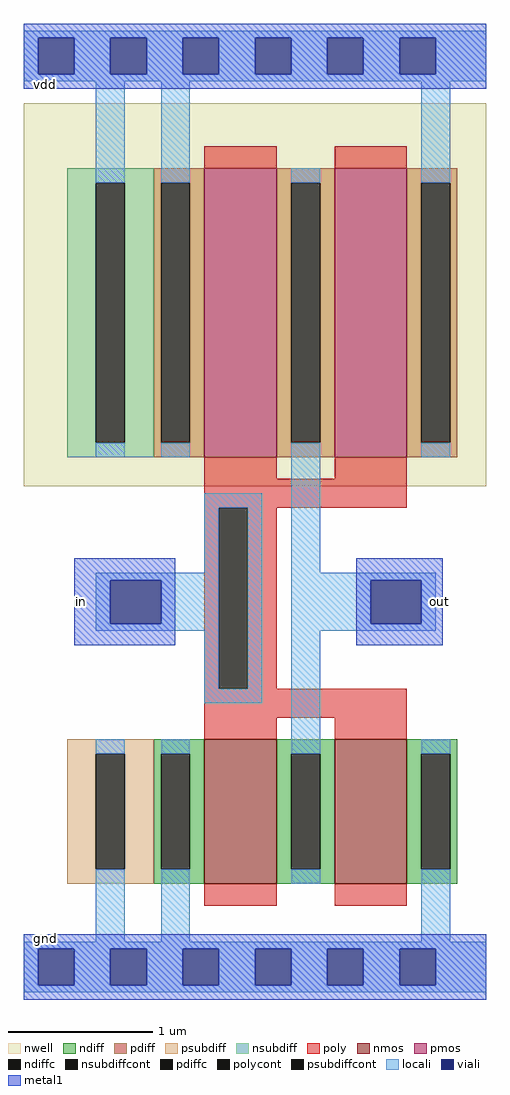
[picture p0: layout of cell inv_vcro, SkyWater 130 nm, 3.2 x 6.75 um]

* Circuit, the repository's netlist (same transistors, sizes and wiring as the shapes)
* NGSPICE file created from inv_vcro.ext - technology: sky130A

.subckt inv_vcro in vdd out gnd
X0 out in gnd gnd sky130_fd_pr__nfet_01v8 ad=0.2 pd=1.4 as=0.35 ps=2.7 w=1 l=0.5
X1 out in vdd vdd sky130_fd_pr__pfet_01v8 ad=0.4 pd=2.4 as=0.7 ps=4.7 w=2 l=0.5
X2 gnd in out gnd sky130_fd_pr__nfet_01v8 ad=0.35 pd=2.7 as=0.2 ps=1.4 w=1 l=0.5
X3 vdd in out vdd sky130_fd_pr__pfet_01v8 ad=0.7 pd=4.7 as=0.4 ps=2.4 w=2 l=0.5
.ends

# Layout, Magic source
magic
tech sky130A
<< nwell >>
rect -100 260 220 525
<< nmos >>
rect 25 -15 75 85
rect 115 -15 165 85
<< pmos >>
rect 25 280 75 480
rect 115 280 165 480
<< ndiff >>
rect -10 75 25 85
rect -10 -5 -5 75
rect 15 -5 25 75
rect -10 -15 25 -5
rect 75 75 115 85
rect 75 -5 85 75
rect 105 -5 115 75
rect 75 -15 115 -5
rect 165 75 200 85
rect 165 -5 175 75
rect 195 -5 200 75
rect 165 -15 200 -5
<< pdiff >>
rect -10 470 25 480
rect -10 290 -5 470
rect 15 290 25 470
rect -10 280 25 290
rect 75 470 115 480
rect 75 290 85 470
rect 105 290 115 470
rect 75 280 115 290
rect 165 470 200 480
rect 165 290 175 470
rect 195 290 200 470
rect 165 280 200 290
<< ndiffc >>
rect -5 -5 15 75
rect 85 -5 105 75
rect 175 -5 195 75
<< pdiffc >>
rect -5 290 15 470
rect 85 290 105 470
rect 175 290 195 470
<< psubdiff >>
rect -70 75 -10 85
rect -70 -5 -50 75
rect -30 -5 -10 75
rect -70 -15 -10 -5
<< nsubdiff >>
rect -70 470 -10 480
rect -70 290 -50 470
rect -30 290 -10 470
rect -70 280 -10 290
<< psubdiffcont >>
rect -50 -5 -30 75
<< nsubdiffcont >>
rect -50 290 -30 470
<< poly >>
rect 25 480 75 495
rect 115 480 165 495
rect 25 265 75 280
rect 115 265 165 280
rect 25 245 165 265
rect 25 120 35 245
rect 55 120 75 245
rect 25 100 165 120
rect 25 85 75 100
rect 115 85 165 100
rect 25 -30 75 -15
rect 115 -30 165 -15
<< polycont >>
rect 35 120 55 245
<< locali >>
rect -100 570 220 575
rect -100 545 -90 570
rect -65 545 -40 570
rect -15 545 10 570
rect 35 545 60 570
rect 85 545 110 570
rect 135 545 160 570
rect 185 545 220 570
rect -100 540 220 545
rect -50 470 -30 540
rect -50 280 -30 290
rect -5 470 15 540
rect -5 280 15 290
rect 85 470 105 480
rect 25 245 65 255
rect 25 200 35 245
rect -50 195 35 200
rect -50 165 -40 195
rect -5 165 35 195
rect -50 160 35 165
rect 25 120 35 160
rect 55 120 65 245
rect 25 110 65 120
rect 85 200 105 290
rect 175 470 195 540
rect 175 280 195 290
rect 85 195 185 200
rect 85 165 140 195
rect 175 165 185 195
rect 85 160 185 165
rect -50 75 -30 85
rect -50 -55 -30 -5
rect -5 75 15 85
rect -5 -55 15 -5
rect 85 75 105 160
rect 85 -15 105 -5
rect 175 75 195 85
rect 175 -55 195 -5
rect -100 -60 220 -55
rect -100 -85 -90 -60
rect -65 -85 -40 -60
rect -15 -85 10 -60
rect 35 -85 60 -60
rect 85 -85 110 -60
rect 135 -85 160 -60
rect 185 -85 220 -60
rect -100 -90 220 -85
<< viali >>
rect -90 545 -65 570
rect -40 545 -15 570
rect 10 545 35 570
rect 60 545 85 570
rect 110 545 135 570
rect 160 545 185 570
rect -40 165 -5 195
rect 140 165 175 195
rect -90 -85 -65 -60
rect -40 -85 -15 -60
rect 10 -85 35 -60
rect 60 -85 85 -60
rect 110 -85 135 -60
rect 160 -85 185 -60
<< metal1 >>
rect -100 570 220 580
rect -100 545 -90 570
rect -65 545 -40 570
rect -15 545 10 570
rect 35 545 60 570
rect 85 545 110 570
rect 135 545 160 570
rect 185 545 220 570
rect -100 535 220 545
rect -65 195 5 210
rect -65 165 -40 195
rect -5 165 5 195
rect -65 150 5 165
rect 130 195 190 210
rect 130 165 140 195
rect 175 165 190 195
rect 130 150 190 165
rect -100 -60 220 -50
rect -100 -85 -90 -60
rect -65 -85 -40 -60
rect -15 -85 10 -60
rect 35 -85 60 -60
rect 85 -85 110 -60
rect 135 -85 160 -60
rect 185 -85 220 -60
rect -100 -95 220 -85
<< labels >>
flabel metal1 -65 150 -55 210 0 FreeSans 400 0 0 0 in
port 1 nsew
flabel metal1 -100 535 -70 540 0 FreeSans 400 0 0 0 vdd
port 2 nsew
flabel metal1 185 150 190 210 0 FreeSans 400 0 0 0 out
port 3 nsew
flabel metal1 -100 -55 -70 -50 0 FreeSans 400 0 0 0 gnd
port 4 nsew
<< end >>
